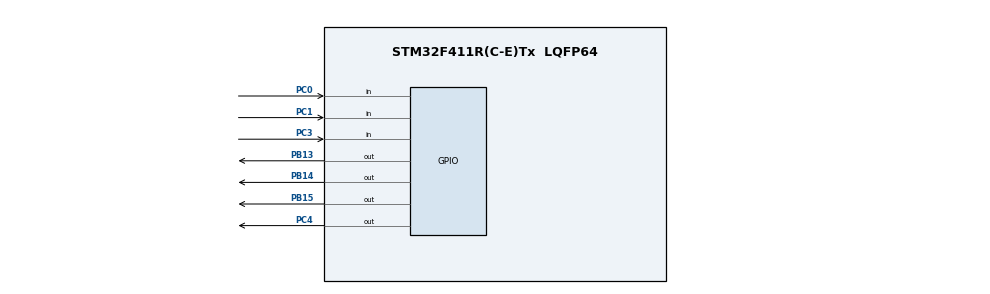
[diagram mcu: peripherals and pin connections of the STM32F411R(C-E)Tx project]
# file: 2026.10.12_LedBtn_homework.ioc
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Mcu.Family=STM32F4
Mcu.Name=STM32F411R(C-E)Tx
Mcu.Package=LQFP64
NVIC.PriorityGroup=NVIC_PRIORITYGROUP_4
PB13.Signal=GPIO_Output
PB14.Signal=GPIO_Output
PB15.Signal=GPIO_Output
PC0.Signal=GPIO_Input
PC1.Signal=GPIO_Input
PC3.Signal=GPIO_Input
PC4.Signal=GPIO_Output
PH0\ -\ OSC_IN.Mode=HSE-External-Oscillator
PH0\ -\ OSC_IN.Signal=RCC_OSC_IN
PH1\ -\ OSC_OUT.Mode=HSE-External-Oscillator
PH1\ -\ OSC_OUT.Signal=RCC_OSC_OUT
ProjectManager.HeapSize=0x200
ProjectManager.StackSize=0x400
ProjectManager.TargetToolchain=STM32CubeIDE
RCC.48MHZClocksFreq_Value=50000000
RCC.AHBFreq_Value=100000000
RCC.APB1CLKDivider=RCC_HCLK_DIV2
RCC.APB1Freq_Value=50000000
RCC.APB1TimFreq_Value=100000000
RCC.APB2Freq_Value=100000000
RCC.APB2TimFreq_Value=100000000
RCC.CortexFreq_Value=100000000
RCC.HCLKFreq_Value=100000000
RCC.HSE_VALUE=8000000
RCC.HSI_VALUE=16000000
RCC.LSE_VALUE=32768
RCC.PLLM=8
RCC.PLLN=100
RCC.SYSCLKFreq_VALUE=100000000
RCC.SYSCLKSource=RCC_SYSCLKSOURCE_PLLCLK
RCC.VCOOutputFreq_Value=200000000
board=custom

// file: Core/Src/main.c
/* USER CODE BEGIN Header */
/**
 ******************************************************************************
 * @file           : main.c
 * @brief          : Main program body
 ******************************************************************************
 * @attention
 *
 * Copyright (c) 2026 STMicroelectronics.
 * All rights reserved.
 *
 * This software is licensed under terms that can be found in the LICENSE file
 * in the root directory of this software component.
 * If no LICENSE file comes with this software, it is provided AS-IS.
 *
 ******************************************************************************
 */
/* USER CODE END Header */
#include "main.h"

enum {LED_ON, LED_OFF, LED_TOGGLE};

/* USER CODE BEGIN PD */
#define BTN1_GPIO GPIOC
#define BTN1_PIN  GPIO_PIN_0

#define BTN2_GPIO GPIOC
#define BTN2_PIN  GPIO_PIN_1

#define BTN3_GPIO GPIOC
#define BTN3_PIN  GPIO_PIN_3

#define LED1_GPIO GPIOB
#define LED1_PIN  GPIO_PIN_15

#define LED2_GPIO GPIOB
#define LED2_PIN  GPIO_PIN_14

#define LED3_GPIO GPIOB
#define LED3_PIN  GPIO_PIN_13

#define LED4_GPIO GPIOC
#define LED4_PIN  GPIO_PIN_4
/* USER CODE END PD */

void SystemClock_Config(void);
static void MX_GPIO_Init(void);
/* USER CODE BEGIN PFP */
int state = LED_ON;
/* USER CODE END PFP */

/* USER CODE BEGIN 0 */

void led_on(GPIO_TypeDef*GPIOx, uint16_t GPIO_Pin)
{
	HAL_GPIO_WritePin(GPIOx, GPIO_Pin, GPIO_PIN_SET);
}

void led_off(GPIO_TypeDef*GPIOx, uint16_t GPIO_Pin)
{
	HAL_GPIO_WritePin(GPIOx, GPIO_Pin, GPIO_PIN_RESET);
}

void led_toggle(GPIO_TypeDef*GPIOx, uint16_t GPIO_Pin)
{
	HAL_GPIO_TogglePin(GPIOx, GPIO_Pin);
}
void led_on_state(void)
{
	if (HAL_GPIO_ReadPin(BTN2_GPIO, BTN2_PIN) == 0)
	{
		state = LED_OFF;
	}
	else if (HAL_GPIO_ReadPin(BTN3_GPIO, BTN3_PIN) == 0)
	{
		state = LED_TOGGLE;
	}

	HAL_GPIO_WritePin(LED1_GPIO, LED1_PIN, GPIO_PIN_SET);
	HAL_GPIO_WritePin(LED2_GPIO, LED2_PIN, GPIO_PIN_SET);
	HAL_GPIO_WritePin(LED3_GPIO, LED3_PIN, GPIO_PIN_SET);
	HAL_GPIO_WritePin(LED4_GPIO, LED4_PIN, GPIO_PIN_SET);

}
void led_off_state(void)
{
	if (HAL_GPIO_ReadPin(BTN3_GPIO, BTN3_PIN) == 0)
	{
		state = LED_TOGGLE;
	}
	else if (HAL_GPIO_ReadPin(BTN1_GPIO, BTN1_PIN) == 0)
	{
		state = LED_ON;
	}

	HAL_GPIO_WritePin(LED1_GPIO, LED1_PIN, GPIO_PIN_RESET);
	HAL_GPIO_WritePin(LED2_GPIO, LED2_PIN, GPIO_PIN_RESET);
	HAL_GPIO_WritePin(LED3_GPIO, LED3_PIN, GPIO_PIN_RESET);
	HAL_GPIO_WritePin(LED4_GPIO, LED4_PIN, GPIO_PIN_RESET);
}
void led_toggle_state(void)
{
	if (HAL_GPIO_ReadPin(BTN1_GPIO, BTN1_PIN) == 0)
	{
		state = LED_ON;
	}
	else if (HAL_GPIO_ReadPin(BTN2_GPIO, BTN2_PIN) == 0)
	{
		state = LED_OFF;
	}

	HAL_GPIO_TogglePin(LED1_GPIO, LED1_PIN);
	HAL_GPIO_TogglePin(LED2_GPIO, LED2_PIN);
	HAL_GPIO_TogglePin(LED3_GPIO, LED3_PIN);
	HAL_GPIO_TogglePin(LED4_GPIO, LED4_PIN);

	HAL_Delay(200);
}

/* USER CODE END 0 */

 int main(void)
{

	/* MCU Configuration--------------------------------------------------------*/

	 /* Reset of all peripherals, Initializes the Flash interface and the Systick. */
	 HAL_Init();

	 /* Configure the system clock */
	 SystemClock_Config();

	 /* Initialize all configured peripherals */
	 MX_GPIO_Init();

	 /* Infinite loop */
	 /* USER CODE BEGIN WHILE */

	 while (1)
	 {
		 switch (state)
		 {
		 case LED_ON:
			 led_on_state();
			 break;

		 case LED_OFF:
			 led_off_state();
			 break;

		 case LED_TOGGLE:
			 led_toggle_state();
			 break;

		 default:
			 state = LED_OFF;
			 break;
		 }
	 }

}

 /* USER CODE END WHILE */

 /**
  * @brief System Clock Configuration
  * @retval None
  */
 void SystemClock_Config(void)
 {
	 RCC_OscInitTypeDef RCC_OscInitStruct = {0};
	 RCC_ClkInitTypeDef RCC_ClkInitStruct = {0};

	 /** Configure the main internal regulator output voltage
	  */
	 __HAL_RCC_PWR_CLK_ENABLE();
	 __HAL_PWR_VOLTAGESCALING_CONFIG(PWR_REGULATOR_VOLTAGE_SCALE1);

	 /** Initializes the RCC Oscillators according to the specified parameters
	  * in the RCC_OscInitTypeDef structure.
	  */
	 RCC_OscInitStruct.OscillatorType = RCC_OSCILLATORTYPE_HSI;
	 RCC_OscInitStruct.HSIState = RCC_HSI_ON;
	 RCC_OscInitStruct.HSICalibrationValue = RCC_HSICALIBRATION_DEFAULT;
	 RCC_OscInitStruct.PLL.PLLState = RCC_PLL_ON;
	 RCC_OscInitStruct.PLL.PLLSource = RCC_PLLSOURCE_HSI;
	 RCC_OscInitStruct.PLL.PLLM = 8;
	 RCC_OscInitStruct.PLL.PLLN = 100;
	 RCC_OscInitStruct.PLL.PLLP = RCC_PLLP_DIV2;
	 RCC_OscInitStruct.PLL.PLLQ = 4;
	 if (HAL_RCC_OscConfig(&RCC_OscInitStruct) != HAL_OK)
	 {
		 Error_Handler();
	 }

	 /** Initializes the CPU, AHB and APB buses clocks
	  */
	 RCC_ClkInitStruct.ClockType = RCC_CLOCKTYPE_HCLK|RCC_CLOCKTYPE_SYSCLK
			 |RCC_CLOCKTYPE_PCLK1|RCC_CLOCKTYPE_PCLK2;
	 RCC_ClkInitStruct.SYSCLKSource = RCC_SYSCLKSOURCE_PLLCLK;
	 RCC_ClkInitStruct.AHBCLKDivider = RCC_SYSCLK_DIV1;
	 RCC_ClkInitStruct.APB1CLKDivider = RCC_HCLK_DIV2;
	 RCC_ClkInitStruct.APB2CLKDivider = RCC_HCLK_DIV1;

	 if (HAL_RCC_ClockConfig(&RCC_ClkInitStruct, FLASH_LATENCY_3) != HAL_OK)
	 {
		 Error_Handler();
	 }
 }

 /**
  * @brief GPIO Initialization Function
  * @param None
  * @retval None
  */
 static void MX_GPIO_Init(void)
 {
	 GPIO_InitTypeDef GPIO_InitStruct = {0};

	 /* GPIO Ports Clock Enable */
	 __HAL_RCC_GPIOH_CLK_ENABLE();
	 __HAL_RCC_GPIOC_CLK_ENABLE();
	 __HAL_RCC_GPIOB_CLK_ENABLE();

	 /*Configure GPIO pin Output Level */
	 HAL_GPIO_WritePin(GPIOC, GPIO_PIN_4, GPIO_PIN_RESET);

	 /*Configure GPIO pin Output Level */
	 HAL_GPIO_WritePin(GPIOB, GPIO_PIN_13|GPIO_PIN_14|GPIO_PIN_15, GPIO_PIN_RESET);

	 /*Configure GPIO pins : PC0 PC1 PC3 */
	 GPIO_InitStruct.Pin = GPIO_PIN_0|GPIO_PIN_1|GPIO_PIN_3;
	 GPIO_InitStruct.Mode = GPIO_MODE_INPUT;
	 GPIO_InitStruct.Pull = GPIO_NOPULL;
	 HAL_GPIO_Init(GPIOC, &GPIO_InitStruct);

	 /*Configure GPIO pin : PC4 */
	 GPIO_InitStruct.Pin = GPIO_PIN_4;
	 GPIO_InitStruct.Mode = GPIO_MODE_OUTPUT_PP;
	 GPIO_InitStruct.Pull = GPIO_NOPULL;
	 GPIO_InitStruct.Speed = GPIO_SPEED_FREQ_LOW;
	 HAL_GPIO_Init(GPIOC, &GPIO_InitStruct);

	 /*Configure GPIO pins : PB13 PB14 PB15 */
	 GPIO_InitStruct.Pin = GPIO_PIN_13|GPIO_PIN_14|GPIO_PIN_15;
	 GPIO_InitStruct.Mode = GPIO_MODE_OUTPUT_PP;
	 GPIO_InitStruct.Pull = GPIO_NOPULL;
	 GPIO_InitStruct.Speed = GPIO_SPEED_FREQ_LOW;
	 HAL_GPIO_Init(GPIOB, &GPIO_InitStruct);

 }

 /**
  * @brief  This function is executed in case of error occurrence.
  * @retval None
  */
 void Error_Handler(void)
 {
	 __disable_irq();
	 while (1)
	 {
	 }
 }
